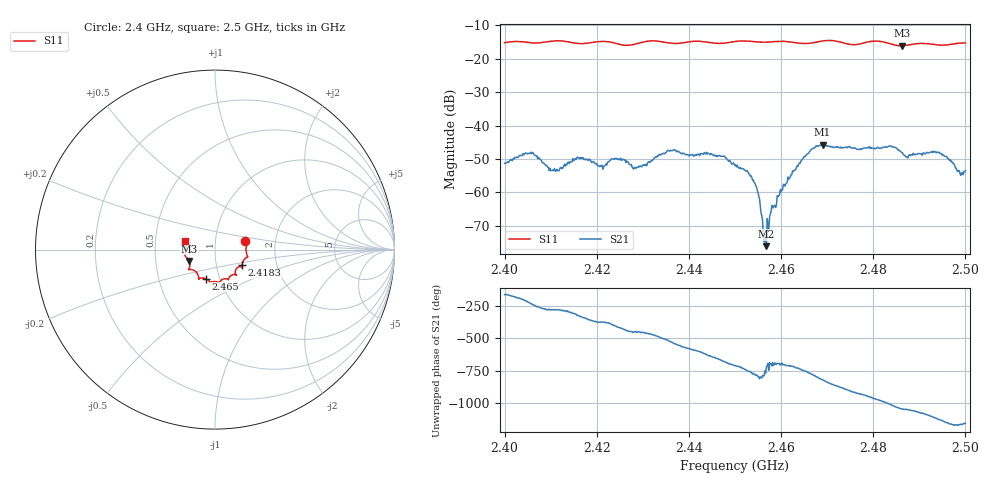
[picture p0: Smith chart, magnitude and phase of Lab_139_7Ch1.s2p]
# Hz S RI R 50
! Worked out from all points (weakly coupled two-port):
!   601 points, 2.4 GHz to 2.5 GHz, reference 50 ohm
!   highest |S21| = -45.73 dB at 2.469 GHz (marker M1); lowest = -76.1 dB at 2.4567 GHz (marker M2)
!   lowest |S11| = -16.1 dB at 2.4862 GHz (marker M3), VSWR 1.37, Z = 37.2 - j4.82 ohm
!   |S11| at or under -10 dB: start of sweep to end of sweep
!   S12 and S22 are empty: the file has one direction only
!   S11 on the Smith chart (normalised r, x): 2.4 GHz: 1.40, +0.14; 2.4183 GHz: 1.33, -0.24; 2.465 GHz: 0.86, -0.28; 2.5 GHz: 0.71, +0.07
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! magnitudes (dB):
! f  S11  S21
! 2.4 GHz  -15.1  -51.3
! 2.4058 GHz  -15.2  -48.4
! 2.4113 GHz  -14.6  -53.1
! 2.4167 GHz  -15.4  -49.9
! 2.4183 GHz  -15.2  -50.3
! 2.4283 GHz  -15.6  -52.7
! 2.4333 GHz  -14.7  -49.1
! 2.4438 GHz  -15.0  -48.0
! 2.45 GHz  -14.8  -52.0
! 2.4542 GHz  -14.8  -57.1
! 2.455 GHz  -14.9  -60.3
! 2.4563 GHz  -15.0  -74.8
! 2.4567 GHz  -15.0  -76.1
! 2.458 GHz  -14.9  -63.9
! 2.4597 GHz  -14.7  -60.8
! 2.465 GHz  -15.4  -49.3
! 2.4667 GHz  -15.2  -47.0
! 2.469 GHz  -14.6  -45.7
! 2.4833 GHz  -15.3  -46.2
! 2.4862 GHz  -16.1  -48.0
! 2.4943 GHz  -15.9  -48.0
! 2.5 GHz  -15.2  -53.5
